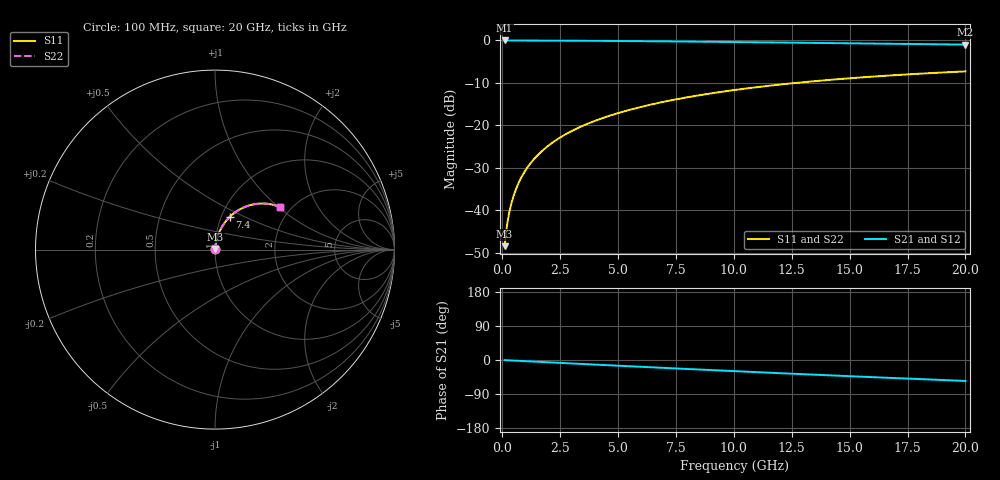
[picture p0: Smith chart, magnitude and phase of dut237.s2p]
! Touchstone file exported from HFSS 2026.1.0
!  File:  C:/ffzhzh/LocalFiles/Ansys_Project_Files/temp_train_TMRDL_237_1782984613_41620.aedt
!  Generated:  05:31:37 PM Jul  2, 2026
!  Design:  TMRDL
!  Project:  temp_train_TMRDL_237_1782984613_41620
! Variables:
!  h_bsmrdl = 2um
!  h_ox = 20um
!  h_rdl = 5um
!  h_sub = 80um
!  h_tmrdl = 5.9um
!  h_tsv = 80um
!  h_via = 3um
!  l_bsmrdl = 300um
!  l_sub = 1272.11um
!  l_tmrdl = 872.11um
!  m_sub = 200um
!  pitch = 58.84um
!  r_tsv = 6um
!  s_tmrdl = 10um
!  w_bsmrdl = 18um
!  w_sub = 500um
!  w_tmrdl = 28.17um
!  x_tsv_center1 = 886.195um
!  x_tsv_center2 = 1204.195um
!  x_tsv_center3 = 2104.475um
!  x_tsv_center4 = 2422.475um
!  x_tsv_center5 = 3322.755um
!  x_tsv_center6 = 3640.755um
# GHz S MA R 50.000000
! Terminal data exported
! Port[1] = TM_RDL1_1_T1
! Port[2] = TM_RDL1_1_T2
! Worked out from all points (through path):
!   200 points, 100 MHz to 20 GHz, reference 50 ohm
!   highest |S21| = -0.02 dB at 100 MHz (marker M1); lowest = -1.0 dB at 20 GHz (marker M2)
!   group delay of S21, straight-line fit = 7.67 ps
!   lowest |S11| = -48.4 dB at 100 MHz (marker M3), VSWR 1.01, Z = 50.2 + j0.318 ohm
!   |S11| at or under -10 dB: start of sweep to 12.7 GHz
!   |S22| runs from -48.4 to -7.3 dB; largest |S21 - S12| = 6.3e-15
!   S11 on the Smith chart (normalised r, x): 100 MHz: 1.00, +0.01; 7.4 GHz: 1.10, +0.42; 20 GHz: 1.75, +1.02
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0.1  0.003799 56.4  0.9979 -0.3  0.9979 -0.3  0.003799 56.4
! Gamma 0 0 0 0
! Port Impedance 50 0 50 0
0.2  0.006608 69.2  0.9977 -0.6  0.9977 -0.6  0.006608 69.2
0.3  0.00945 74.2  0.9975 -0.9  0.9975 -0.9  0.00945 74.2
0.4  0.01229 76.8  0.9974 -1.3  0.9974 -1.3  0.01229 76.8
0.5  0.01515 78.5  0.9973 -1.6  0.9973 -1.6  0.01515 78.5
0.7  0.02088 80.2  0.9971 -2.2  0.9971 -2.2  0.02088 80.2
0.8  0.02376 80.7  0.997 -2.5  0.997 -2.5  0.02376 80.7
1  0.02951 81.1  0.9967 -3.1  0.9967 -3.1  0.02951 81.1
1.2  0.03527 81.2  0.9963 -3.7  0.9963 -3.7  0.03527 81.2
1.4  0.041 81.1  0.996 -4.3  0.996 -4.3  0.041 81.1
1.7  0.04957 80.7  0.9953 -5.2  0.9953 -5.2  0.04957 80.7
2  0.05808 80.1  0.9946 -6.1  0.9946 -6.1  0.05808 80.1
2.7  0.07767 78.4  0.9925 -8.3  0.9925 -8.3  0.07767 78.4
3.5  0.0996 76.3  0.9898 -10.7  0.9898 -10.7  0.09961 76.3
4.2  0.1184 74.4  0.9871 -12.7  0.9871 -12.7  0.1184 74.4
5  0.1395 72.3  0.9838 -15.1  0.9838 -15.1  0.1395 72.3
6.8  0.1852 67.4  0.9752 -20.3  0.9752 -20.3  0.1853 67.4
7.4  0.2 65.7  0.972 -22.0  0.972 -22.0  0.2 65.7
10.1  0.2624 58.4  0.9561 -29.6  0.9561 -29.6  0.2625 58.4
13.4  0.3296 49.8  0.9345 -38.6  0.9345 -38.6  0.3297 49.8
16.7  0.386 41.4  0.9123 -47.1  0.9123 -47.1  0.3861 41.4
20  0.4317 33.5  0.8917 -55.2  0.8917 -55.2  0.4317 33.5
